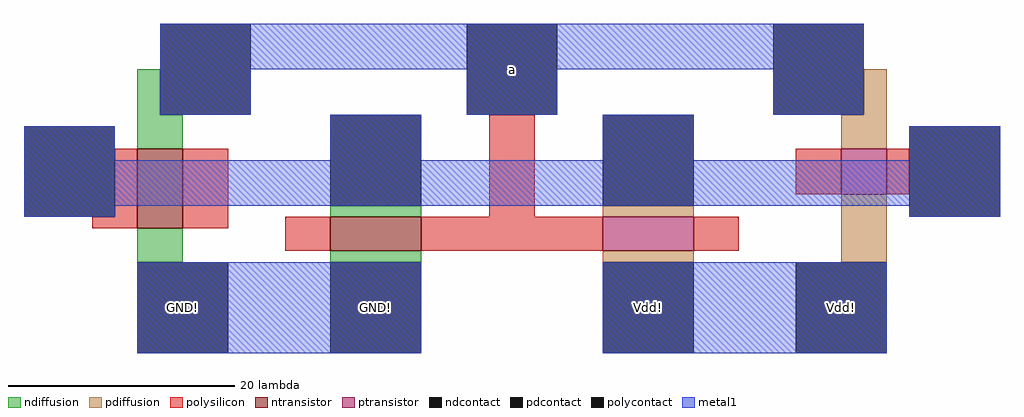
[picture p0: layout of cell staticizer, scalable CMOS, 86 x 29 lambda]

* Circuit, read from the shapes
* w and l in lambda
.subckt staticizer GND! Vdd! a
M1 a n1 GND! VSUBS nfet w=4 l=7
M2 n1 a GND! VSUBS nfet w=8 l=3
M3 n1 a Vdd! NWELL pfet w=8 l=3
M4 a n1 Vdd! NWELL pfet w=4 l=4
.ends

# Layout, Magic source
magic
tech scmos
<< ndiffusion >>
rect -76 389 -74 393
rect -76 386 -72 389
rect -59 380 -51 381
rect -76 376 -72 379
rect -59 376 -51 377
<< pdiffusion >>
rect -12 389 -10 393
rect -14 386 -10 389
rect -35 380 -27 381
rect -35 376 -27 377
rect -14 376 -10 382
<< ntransistor >>
rect -76 379 -72 386
rect -59 377 -51 380
<< ptransistor >>
rect -14 382 -10 386
rect -35 377 -27 380
<< polysilicon >>
rect -78 380 -76 386
rect -80 379 -76 380
rect -72 379 -68 386
rect -45 380 -41 389
rect -18 382 -14 386
rect -10 382 -8 386
rect -63 377 -59 380
rect -51 377 -35 380
rect -27 377 -23 380
<< ndcontact >>
rect -74 389 -66 397
rect -59 381 -51 389
rect -76 368 -68 376
rect -59 368 -51 376
<< pdcontact >>
rect -20 389 -12 397
rect -35 381 -27 389
rect -35 368 -27 376
rect -18 368 -10 376
<< polycontact >>
rect -47 389 -39 397
rect -86 380 -78 388
rect -8 380 0 388
<< metal1 >>
rect -74 393 -12 397
rect -74 389 -66 393
rect -47 389 -39 393
rect -20 389 -12 393
rect -86 385 -78 388
rect -59 385 -51 389
rect -35 385 -27 389
rect -8 385 0 388
rect -86 381 0 385
rect -86 380 -78 381
rect -8 380 0 381
rect -76 368 -51 376
rect -35 368 -10 376
<< labels >>
rlabel ndcontact -55 372 -55 372 1 GND!
rlabel pdcontact -31 372 -31 372 1 Vdd!
rlabel metal1 -14 372 -14 372 1 Vdd!
rlabel metal1 -72 372 -72 372 1 GND!
rlabel metal1 -43 393 -43 393 1 a
<< end >>
